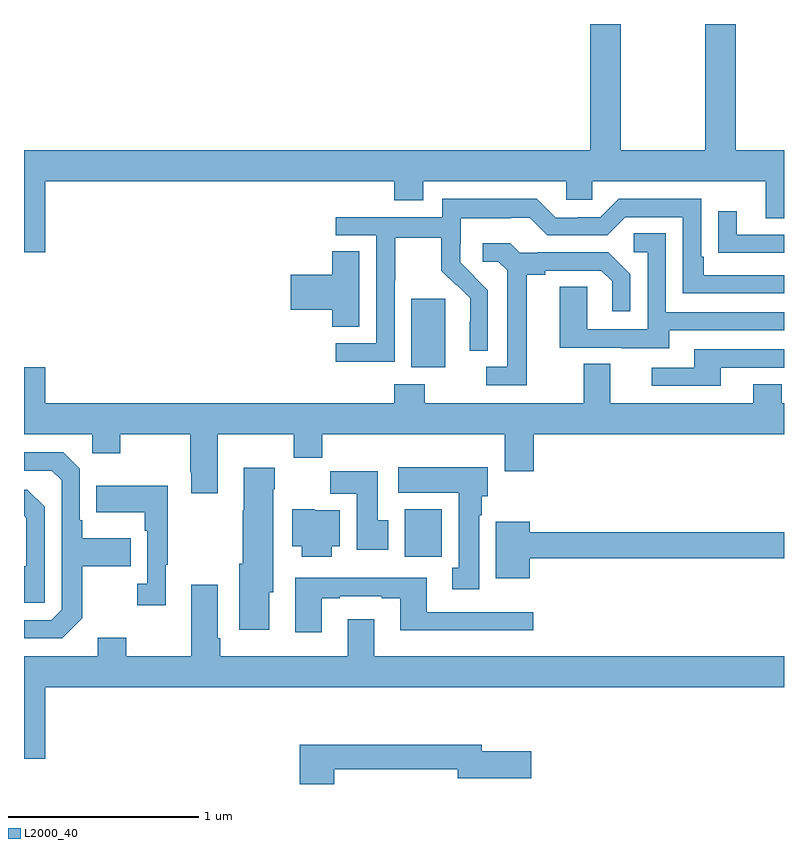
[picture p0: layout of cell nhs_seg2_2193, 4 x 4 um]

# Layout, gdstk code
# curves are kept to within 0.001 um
import gdstk
lib = gdstk.Library(unit=1e-6, precision=1e-09)
def R(c, l, rs):  # rectangles x0, y0, x1, y1
    for r in rs: c.add(gdstk.rectangle(r[:2], r[2:], *l))
def P(c, l, *ps):  # polygons
    for p in ps: c.add(gdstk.Polygon(p, *l))
L2000_40 = (2000, 40)

nhs_seg2_2193 = lib.new_cell('nhs_seg2_2193')
R(nhs_seg2_2193, L2000_40, [(227.003,642.996,227.199,643.246), (227.039,643.994,227.218,644.355)])
P(nhs_seg2_2193, L2000_40, [(225.112,644.972),(226.949,644.972),(226.949,644.873),(227.101,644.873),(227.101,644.972),(227.853,644.972),(227.853,644.874),(227.991,644.874),(227.991,644.972),(228.905,644.972),(228.905,644.778),(229,644.778),(229,645.136),(228.746,645.136),(228.746,645.8),(228.586,645.8),(228.586,645.136),(228.141,645.136),(228.141,645.8),(227.981,645.8),(227.981,645.136),(225,645.136),(225,644.598),(225.112,644.598)],
  [(226.95,644.452),(226.953,644.452),(226.953,644.676),(227.197,644.676),(227.197,644.501),(227.274,644.424),(227.277,644.427),(227.348,644.357),(227.348,644.234),(227.346,644.234),(227.346,644.08),(227.442,644.08),(227.442,644.398),(227.296,644.546),(227.296,644.643),(227.298,644.643),(227.298,644.777),(227.561,644.777),(227.561,644.781),(227.661,644.781),(227.754,644.688),(228.069,644.688),(228.165,644.784),(228.468,644.784),(228.468,644.382),(229,644.382),(229,644.478),(228.577,644.478),(228.577,644.575),(228.564,644.575),(228.564,644.88),(228.129,644.88),(228.033,644.784),(227.915,644.784),(227.915,644.781),(227.799,644.781),(227.699,644.881),(227.202,644.881),(227.202,644.784),(226.641,644.784),(226.641,644.688),(226.854,644.688),(226.854,644.121),(226.641,644.121),(226.641,644.023),(226.95,644.023)],
  [(229,644.691),(228.751,644.691),(228.751,644.815),(228.655,644.815),(228.655,644.596),(228.757,644.596),(228.757,644.595),(229,644.595)],
  [(228.397,644.187),(229,644.187),(229,644.283),(228.378,644.283),(228.378,644.699),(228.21,644.699),(228.21,644.598),(228.282,644.598),(228.282,644.193),(227.964,644.193),(227.964,644.417),(227.819,644.417),(227.819,644.097),(228.143,644.097),(228.143,644.093),(228.397,644.093)],
  [(227.647,644.48),(227.743,644.48),(227.743,644.502),(228.038,644.502),(228.095,644.445),(228.095,644.289),(228.192,644.289),(228.192,644.482),(228.076,644.598),(227.704,644.598),(227.704,644.595),(227.61,644.595),(227.558,644.647),(227.415,644.647),(227.415,644.55),(227.496,644.55),(227.543,644.503),(227.543,643.995),(227.433,643.995),(227.433,643.899),(227.647,643.899)],
  [(226.765,644.603),(226.622,644.603),(226.622,644.48),(226.404,644.48),(226.404,644.297),(226.622,644.297),(226.622,644.206),(226.765,644.206)],
  [(228.667,643.992),(229,643.992),(229,644.088),(228.527,644.088),(228.527,643.992),(228.303,643.992),(228.303,643.896),(228.667,643.896)],
  [(226.021,643.64),(226.42,643.64),(226.42,643.516),(226.571,643.516),(226.571,643.64),(227.531,643.64),(227.531,643.446),(227.684,643.446),(227.684,643.64),(229,643.64),(229,643.804),(228.987,643.804),(228.987,643.903),(228.839,643.903),(228.839,643.804),(228.085,643.804),(228.085,644.012),(227.945,644.012),(227.945,643.804),(227.109,643.804),(227.109,643.903),(226.949,643.903),(226.949,643.804),(225.112,643.804),(225.112,643.993),(225,643.993),(225,643.64),(225.36,643.64),(225.36,643.541),(225.507,643.541),(225.507,643.64),(225.874,643.64),(225.874,643.441),(225.881,643.441),(225.881,643.329),(226.021,643.329)],
  [(225.307,642.673),(225.307,642.946),(225.563,642.946),(225.563,643.093),(225.307,643.093),(225.307,643.189),(225.294,643.189),(225.294,643.458),(225.207,643.545),(225,643.545),(225,643.449),(225.147,643.449),(225.198,643.398),(225.198,642.717),(225.144,642.663),(225,642.663),(225,642.567),(225.201,642.567)],
  [(227.395,643.214),(227.41,643.214),(227.41,643.314),(227.44,643.314),(227.44,643.468),(226.971,643.468),(226.971,643.334),(227.288,643.334),(227.288,642.937),(227.255,642.937),(227.255,642.825),(227.395,642.825)],
  [(226.291,642.81),(226.312,642.81),(226.312,643.352),(226.32,643.352),(226.32,643.465),(226.157,643.465),(226.157,643.241),(226.15,643.241),(226.15,642.96),(226.133,642.96),(226.133,642.612),(226.291,642.612)],
  [(226.918,643.188),(226.861,643.188),(226.861,643.447),(226.612,643.447),(226.612,643.328),(226.751,643.328),(226.751,643.032),(226.918,643.032)],
  [(225.745,642.953),(225.757,642.953),(225.757,643.369),(225.379,643.369),(225.379,643.229),(225.636,643.229),(225.636,643.133),(225.648,643.133),(225.648,642.854),(225.597,642.854),(225.597,642.741),(225.745,642.741)],
  [(225.108,643.26),(225.018,643.35),(225,643.35),(225,643.212),(225.012,643.2),(225.012,642.946),(225,642.946),(225,642.753),(225.108,642.753)],
  [(226.621,643.052),(226.663,643.052),(226.663,643.24),(226.53,643.24),(226.53,643.246),(226.412,643.246),(226.412,643.052),(226.463,643.052),(226.463,642.995),(226.621,642.995)],
  [(227.662,642.988),(229,642.988),(229,643.124),(227.662,643.124),(227.662,643.18),(227.483,643.18),(227.483,642.884),(227.662,642.884)],
  [(226.567,642.777),(226.663,642.777),(226.663,642.789),(226.883,642.789),(226.883,642.777),(226.979,642.777),(226.979,642.608),(227.68,642.608),(227.68,642.705),(227.119,642.705),(227.119,642.886),(226.427,642.886),(226.427,642.6),(226.567,642.6)],
  [(225.112,642.308),(229,642.308),(229,642.472),(226.843,642.472),(226.843,642.667),(226.703,642.667),(226.703,642.472),(226.034,642.472),(226.034,642.568),(226.021,642.568),(226.021,642.85),(225.881,642.85),(225.881,642.472),(225.537,642.472),(225.537,642.571),(225.389,642.571),(225.389,642.472),(225,642.472),(225,641.934),(225.112,641.934)],
  [(226.634,641.878),(227.282,641.878),(227.282,641.831),(227.671,641.831),(227.671,641.973),(227.41,641.973),(227.41,642.007),(226.451,642.007),(226.451,641.8),(226.634,641.8)])

lib.write_gds('nhs_seg2_2193.gds')
